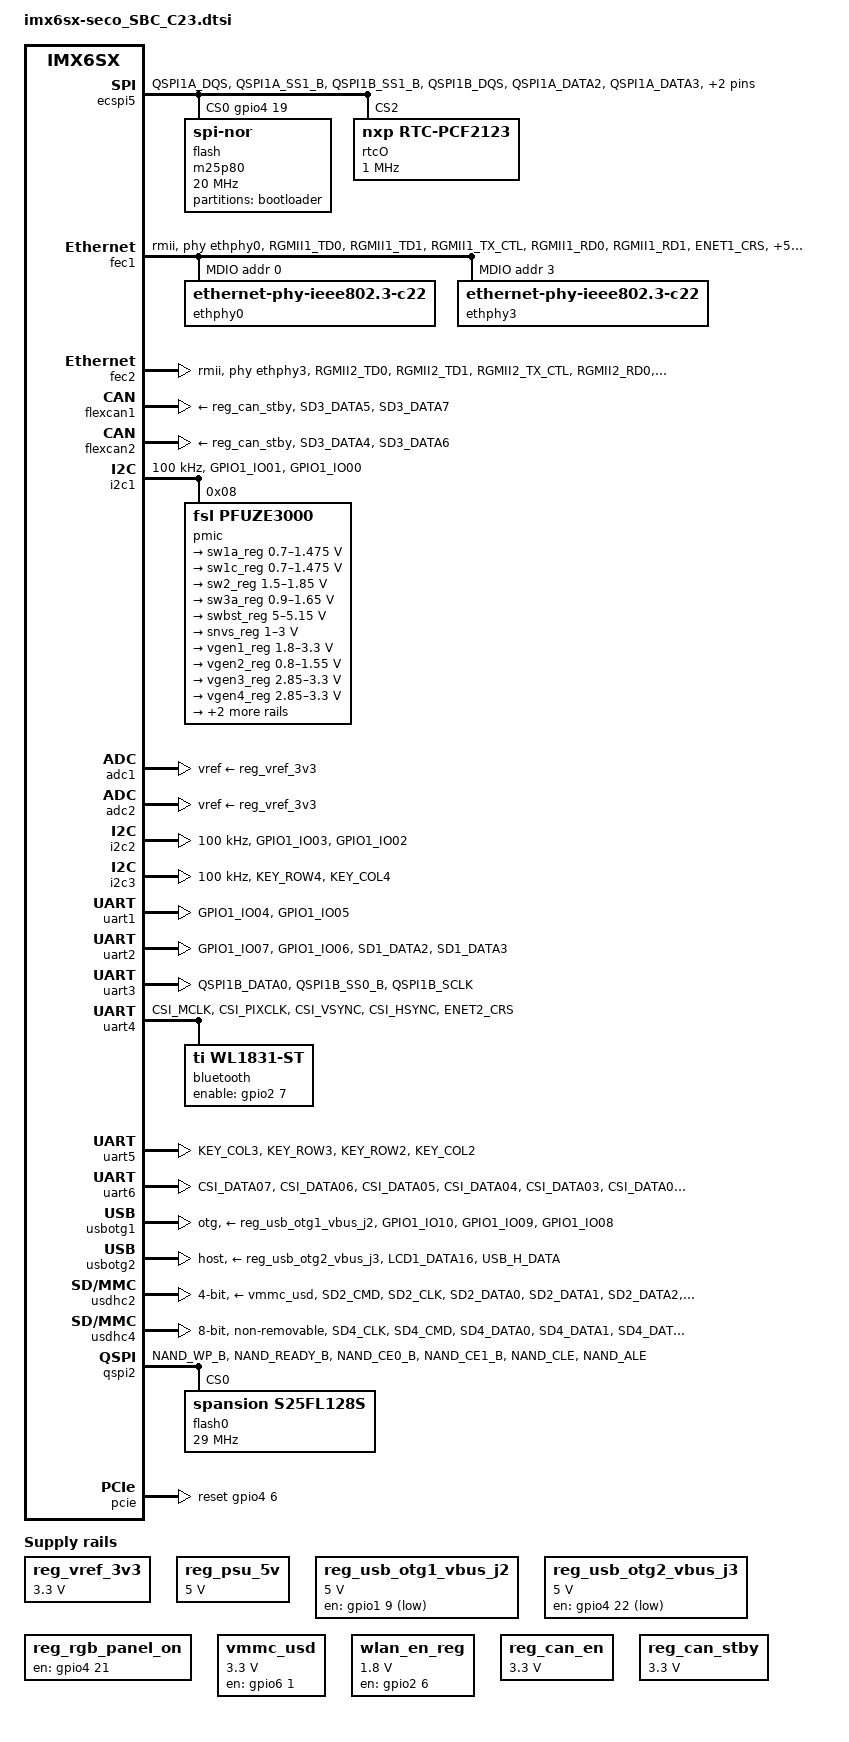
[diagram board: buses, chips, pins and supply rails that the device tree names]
/*
 * Copyright (C) 2016 Seco S.p.A.
 *
 * This program is free software; you can redistribute it and/or modify
 * it under the terms of the GNU General Public License version 2 as
 * published by the Free Software Foundation.
 * 
 * AUTHOR:  Stefano Viola <stefano.viola@seco.com>
 * AUTHOR:  Mathanraj Murugan <mathan.raj@seco.com>
 */


#include <dt-bindings/gpio/gpio.h>
#include <dt-bindings/input/input.h>
#include "imx6sx.dtsi"


/ {
	
	aliases {
		mmc0 = &usdhc4;
		mmc1 = &usdhc2;
		mmc2 = &usdhc3;
		gsm = &uart6;
	};

	pxp_v4l2_out {
		compatible = "fsl,imx6sx-pxp-v4l2", "fsl,imx6sl-pxp-v4l2";
		status = "disabled";
	};

	chosen {
		stdout-path = &uart1;
	};

	regulators {
		compatible = "simple-bus";

		reg_vref_3v3: regulator@0 {
			compatible = "regulator-fixed";
			regulator-name = "vref-3v3";
			regulator-min-microvolt = <3300000>;
			regulator-max-microvolt = <3300000>;
		};

		reg_psu_5v: psu_5v0 {
			compatible = "regulator-fixed";
			regulator-name = "PSU-5V0";
			regulator-min-microvolt = <5000000>;
			regulator-max-microvolt = <5000000>;
			regulator-boot-on;
		};

		reg_usb_otg1_vbus_j2: usb_otg1_vbus {
			compatible = "regulator-fixed";
			regulator-name = "usb_otg1_vbus_j2";
			regulator-min-microvolt = <5000000>;
			regulator-max-microvolt = <5000000>;
			gpio = <&gpio1 9 GPIO_ACTIVE_HIGH>;
			enable-active-down;
		};

		reg_usb_otg2_vbus_j3: usb_otg2_vbus {
			compatible = "regulator-fixed";
			regulator-name = "usb_otg2_vbus_j3";
			regulator-min-microvolt = <5000000>;
			regulator-max-microvolt = <5000000>;
			gpio = <&gpio4 22 GPIO_ACTIVE_HIGH>;
			enable-active-down;

		};

		reg_ldb_panel_on: reg_lcd_pon {
        		compatible        = "regulator-fixed";
            		regulator-name    = "ldb panel on";
            		gpio              = <&gpio6 0 GPIO_ACTIVE_HIGH>;
			status            = "disabled";
            		enable-active-high;
        	};

	        reg_rgb_panel_on: rgb_pon {
			compatible = "regulator-fixed";
			regulator-name = "LCD PANEL_ON";
                	gpio = <&gpio4 21 GPIO_ACTIVE_HIGH>;
			enable-active-high;
        	};

		vmmc_usd: fixedregulator@1 {
			compatible = "regulator-fixed";
			regulator-name = "vmmc_uSD";
			regulator-min-microvolt = <3300000>;
			regulator-max-microvolt = <3300000>;
			gpio = <&gpio6 1 GPIO_ACTIVE_HIGH>;
			enable-active-high;
		};

		wlan_en_reg: fixedregulator@2 {
			compatible = "regulator-fixed";
			regulator-name = "wlan-en-regulator";
			regulator-min-microvolt = <1800000>;
			regulator-max-microvolt = <1800000>;

			/* WLAN_EN GPIO for this board - KEY_COL2  Bank2, pin12 */
			gpio = <&gpio2 6 GPIO_ACTIVE_LOW>;
			/* WLAN card specific delay */
			startup-delay-us = <70000>;
			enable-active-high;
		};

		reg_can_en: regulator@9 {
                         compatible = "regulator-fixed";
                         regulator-name = "can-en";
                         regulator-min-microvolt = <3300000>;
                         regulator-max-microvolt = <3300000>;
                };

		reg_can_stby: regulator@10 {
                         compatible = "regulator-fixed";
                         regulator-name = "can-stby";
                         regulator-min-microvolt = <3300000>;
                         regulator-max-microvolt = <3300000>;
                 };
	};

        sound-spdif {
                compatible = "fsl,imx-audio-spdif";
                model = "imx-spdif";
                spdif-controller = <&spdif>;
                spdif-out;
                status = "disabled";
        };
 /*  __________________________________________________________________________
 * |                                                                          |
 * |                                   VIDEO                                  |
 * |__________________________________________________________________________|
 */
	pxp_v4l2_out {
		compatible = "fsl,imx6sx-pxp-v4l2", "fsl,imx6sl-pxp-v4l2";
		status     = "okay";
	};

	blk_lcdif2: backlight_lcdif2 {
    		compatible   = "gpio-backlight";
        	gpios        = <&gpio6 3 GPIO_ACTIVE_HIGH>;
		default-on;
        	status       = "disabled";
   	};
};

&lcdif2 {
	display    = <&display1>;
	disp-dev   = "ldb";
	lcd-supply = <&reg_ldb_panel_on>;
	status     = "disabled";

	display1: display {
		bits-per-pixel = <16>;
		bus-width      = <18>;
	};
};


&ldb {
	pinctrl-names = "default";
	pinctrl-0     = <&pinctrl_ldb>;
	status        = "disabled";

	lvds_chn1: lvds-channel@0 {
		fsl,data-mapping = "spwg";
		fsl,data-width   = <18>;
		crtc             = "lcdif2";
		status           = "disabled";
		
		display-timings {
			native-mode = <&timing2>;
			timing2: LDB-WVGA {
				clock-frequency = <33660000>;
				hactive         = <800>;
				vactive         = <480>;
				hback-porch     = <56>;
				hfront-porch    = <50>;
				vback-porch     = <23>;
				vfront-porch    = <20>;
				hsync-len       = <150>;
				vsync-len       = <2>;
			};
		};
	};
};


&dcic2 {
	dcic_id  = <1>;
	dcic_mux = "dcic-lvds";
	status   = "disabled";
};


&iomuxc {
	pinctrl-names = "default";
	pinctrl-0 = <&pinctrl_hog>;

	imx6sx-seco_SBC_C23 {
		pinctrl_hog: hoggrp {
			fsl,pins = <
				MX6SX_PAD_QSPI1A_DATA0__USB_OTG2_OC	0x17059	   // USB_VCC_SW_J3_OC
				MX6SX_PAD_QSPI1A_SS0_B__GPIO4_IO_22	0x80000000 // USB_VCC_SW_J3 on REV B

				MX6SX_PAD_KEY_COL1__GPIO2_IO_11		0x80000000 // M2 key B  M2_DPR_1V8

				MX6SX_PAD_NAND_DATA07__GPIO4_IO_11	0x80000000 // QUECTEL ENABLE
				MX6SX_PAD_LCD1_DATA10__GPIO3_IO_11	0x80000000 // RESET QUECTEL
				MX6SX_PAD_LCD1_DATA14__GPIO3_IO_15	0x80000000 // PWRKEY QUECTEL
				MX6SX_PAD_LCD1_DATA09__GPIO3_IO_10	0x80000000 // EN_EMERG
				MX6SX_PAD_LCD1_DATA08__GPIO3_IO_9	0x80000000 // EN_USB_BOOT BOOT_CFG2_0
					
				
				MX6SX_PAD_NAND_WE_B__GPIO4_IO_14	0x80000000 // ALERT#

				MX6SX_PAD_CSI_DATA02__GPIO1_IO_16       0x80000000 // GSM_LED

				MX6SX_PAD_LCD1_DATA23__GPIO3_IO_24	0x80000000 // LED D2044 1 BLUE
				MX6SX_PAD_LCD1_DATA21__GPIO3_IO_22	0x80000000 // LED D2044 2 RED
				MX6SX_PAD_LCD1_DATA17__GPIO3_IO_18	0x80000000 // LED D2044 3 GREEN

				MX6SX_PAD_NAND_DATA05__GPIO4_IO_9	0x80000000 // VCC_BAT

				MX6SX_PAD_RGMII2_TXC__GPIO5_IO_23       0x80000000 // M2_RST
				MX6SX_PAD_RGMII1_RD2__GPIO5_IO_2	0x80000000 // W_DISABLE_1_1v8
				MX6SX_PAD_RGMII1_RD3__GPIO5_IO_3	0x80000000 // W_DISABLE_2_1v8
				MX6SX_PAD_RGMII1_TXC__GPIO5_IO_11	0x80000000 // I2C3_ALERT 
				MX6SX_PAD_RGMII1_TD2__GPIO5_IO_8	0x80000000 // I2C3_ALERT_1 
				MX6SX_PAD_GPIO1_IO11__GPIO1_IO_11	0x80000000 // W_DISABLE_1 #_1
				MX6SX_PAD_GPIO1_IO12__GPIO1_IO_12	0x80000000 // W_DISABLE_2 #_1

				MX6SX_PAD_RGMII1_TD3__GPIO5_IO_9	0x80000000 // SIM DETECT (M2)

				MX6SX_PAD_RGMII2_RD2__GPIO5_IO_14	0x80000000 // SW_I/O_M2 UART5 to M2 or IO Connector

				MX6SX_PAD_RGMII2_RD3__GPIO5_IO_15	0x80000000 // SW_DBG/232 UART5 or TTL(CN69) or RS232 (IO CONNECTOR)

				MX6SX_PAD_RGMII2_TD2__PWM6_OUT          0x1b0b1 // PWM6 on IO CONNECTOR
				MX6SX_PAD_RGMII2_TD3__PWM5_OUT		0x1b0b1 // PWM5 on IO CONNECTOR
				MX6SX_PAD_NAND_DATA06__PWM3_OUT		0x1b0b1 // BUZZER
				
				MX6SX_PAD_ENET1_RX_CLK__GPIO2_IO_4	0x80000000 // VIN_PWR_5V

				MX6SX_PAD_LCD1_CLK__GPIO3_IO_0		0x80000000 // SECO_CODE_4
				MX6SX_PAD_LCD1_RESET__GPIO3_IO_27	0x80000000 // SECO_CODE_3
				MX6SX_PAD_LCD1_ENABLE__GPIO3_IO_25	0x80000000 // SECO_CODE_2
				MX6SX_PAD_LCD1_HSYNC__GPIO3_IO_26	0x80000000 // SECO_CODE_1
				MX6SX_PAD_LCD1_VSYNC__GPIO3_IO_28	0x80000000 // SECO_CODE_0 Board Type
				
				MX6SX_PAD_NAND_DATA00__GPIO4_IO_4	0x80000000 // OC#_5V
				MX6SX_PAD_NAND_DATA01__GPIO4_IO_5	0x80000000 // EN_OUT_5V
	
				MX6SX_PAD_NAND_DATA02__GPIO4_IO_6	0x80000000 // PCIE_RST
				MX6SX_PAD_NAND_DATA04__GPIO4_IO_8	0x80000000 // PCIE_CLK_REQN
				MX6SX_PAD_NAND_DATA03__GPIO4_IO_7	0x80000000 // PCIE_WAKE#

				MX6SX_PAD_QSPI1A_SCLK__GPIO4_IO_21	0x80000000 // SPI5_WP Write Protect

				MX6SX_PAD_QSPI1A_DATA1__GPIO4_IO_17	0x80000000 // PMIC_INT_B
				MX6SX_PAD_QSPI1B_DATA2__GPIO4_IO_26	0x80000000 // INT_CHG Charger

				MX6SX_PAD_ENET2_RX_CLK__ENET2_REF_CLK_25M	0x91
				
				MX6SX_PAD_ENET1_MDIO__ENET1_MDIO        0xa0b1
				MX6SX_PAD_ENET1_MDC__ENET1_MDC		0xa0b1

			>;
		};


                pinctrl_flexcan1: flexcan1grp {
                        fsl,pins = <
				MX6SX_PAD_SD3_DATA5__CAN1_TX		0x1b020
				MX6SX_PAD_SD3_DATA7__CAN1_RX		0x1b020		
                        >;
                };

                pinctrl_flexcan2: flexcan2grp {
                        fsl,pins = <
				MX6SX_PAD_SD3_DATA4__CAN2_RX		0x1b020
				MX6SX_PAD_SD3_DATA6__CAN2_TX		0x1b020
                        >;
                };


		pinctrl_uart1: uart1grp-1 {
			fsl,pins = <
				MX6SX_PAD_GPIO1_IO04__UART1_TX          0x1b0b1
				MX6SX_PAD_GPIO1_IO05__UART1_RX          0x1b0b1
			>;
		};

		pinctrl_uart2: uart2grp-1 {
			fsl,pins = <
				MX6SX_PAD_GPIO1_IO07__UART2_RX          0x1b0b1
				MX6SX_PAD_GPIO1_IO06__UART2_TX          0x1b0b1
				MX6SX_PAD_SD1_DATA2__UART2_CTS_B	0x1b0b1
				MX6SX_PAD_SD1_DATA3__UART2_RTS_B	0x1b0b1
			>;
		};
		
		pinctrl_uart3: uart3grp-1 {
			fsl,pins = <
				MX6SX_PAD_QSPI1B_DATA0__UART3_CTS_B	0x1b0b1
				MX6SX_PAD_QSPI1B_SS0_B__UART3_TX	0x1b0b1
				MX6SX_PAD_QSPI1B_SCLK__UART3_RX		0x1b0b1
			>;
		};


		pinctrl_uart6: uart6grp-1 {
			fsl,pins = <
				MX6SX_PAD_CSI_DATA07__UART6_CTS_B       0x1b0b1
				MX6SX_PAD_CSI_DATA06__UART6_RTS_B       0x1b0b1
				MX6SX_PAD_CSI_DATA05__UART6_TX          0x1b0b1
				MX6SX_PAD_CSI_DATA04__UART6_RX          0x1b0b1
				MX6SX_PAD_CSI_DATA03__UART6_DCD_B	0x1b0b1
				MX6SX_PAD_CSI_DATA01__UART6_DSR_B	0x1b0b1
				MX6SX_PAD_CSI_DATA00__UART6_RI_B	0x1b0b1
			>;
		};

		pinctrl_uart4_1: uart4grp-1 {
			fsl,pins = <
				MX6SX_PAD_CSI_MCLK__UART4_RX		0x10059
				MX6SX_PAD_CSI_PIXCLK__UART4_TX		0x10059
				MX6SX_PAD_CSI_VSYNC__UART4_CTS_B	0x13059
				MX6SX_PAD_CSI_HSYNC__UART4_RTS_B	0x13059
				MX6SX_PAD_ENET2_CRS__GPIO2_IO_7		0x15059
			>;
		};
	
		pinctrl_uart5_1: uart5grp-1 {
			fsl,pins = <
				MX6SX_PAD_KEY_COL3__UART5_TX		0x10059
				MX6SX_PAD_KEY_ROW3__UART5_RX		0x10059
				MX6SX_PAD_KEY_ROW2__UART5_CTS_B		0x10059
				MX6SX_PAD_KEY_COL2__UART5_RTS_B		0x10059
			>;
		};

                pinctrl_ecspi5_1: ecspi5grp-1 {
                        fsl,pins = <
				
				//NEW C23
				MX6SX_PAD_QSPI1A_DQS__ECSPI5_MOSI	0x100b1
				MX6SX_PAD_QSPI1A_SS1_B__ECSPI5_MISO	0x100b1
				MX6SX_PAD_QSPI1B_SS1_B__ECSPI5_SCLK	0x100b1
				
				MX6SX_PAD_QSPI1B_DQS__GPIO4_IO_28	0x80000000 // CS0 memory
				MX6SX_PAD_QSPI1A_DATA2__ECSPI5_SS1	0x100b1 // CS1 NATIVE Key E
				MX6SX_PAD_QSPI1A_DATA3__GPIO4_IO_19	0x80000000 // CS2 RTC
				MX6SX_PAD_QSPI1B_DATA3__ECSPI5_SS3	0x100b1 // CS3 NATIVE Key B
				MX6SX_PAD_QSPI1B_DATA1__GPIO4_IO_25	0x80000000 //RTC_INT
				
                        >;
                };

		
		pinctrl_enet1_1: enet1grp-1 {
			fsl,pins = <
				
				MX6SX_PAD_RGMII1_TD0__ENET1_TX_DATA_0        0x1b0b0
				MX6SX_PAD_RGMII1_TD1__ENET1_TX_DATA_1        0x1b0b0
				MX6SX_PAD_RGMII1_TX_CTL__ENET1_TX_EN         0x1b0b0
				MX6SX_PAD_RGMII1_RD0__ENET1_RX_DATA_0        0x1b0b0
				MX6SX_PAD_RGMII1_RD1__ENET1_RX_DATA_1        0x1b0b0

				/*  RESET  */
                		MX6SX_PAD_ENET1_CRS__GPIO2_IO_1              0x1f071
				/*  IRQ  */
				MX6SX_PAD_KEY_COL0__GPIO2_IO_10	             0x1f071
				MX6SX_PAD_RGMII1_RXC__ENET1_RX_ER   	     0x1b0b0
				MX6SX_PAD_ENET1_TX_CLK__ENET1_REF_CLK1       0x1b0b0
				MX6SX_PAD_RGMII1_RX_CTL__ENET1_RX_EN         0x1b0b0


			>;
		};

		pinctrl_enet1_2: enet1grp-2 {
			fsl,pins = <
        		MX6SX_PAD_RGMII1_RX_CTL__GPIO5_IO_4          0x80000000
			>;
		};

		pinctrl_enet1_3: enet1grp-3 {
			fsl,pins = <
				MX6SX_PAD_RGMII1_RX_CTL__ENET1_RX_EN         0x3081
			>;
		};

		pinctrl_enet2_1: enet2grp-1 {
			fsl,pins = <
				MX6SX_PAD_RGMII2_TD0__ENET2_TX_DATA_0        0x1b0b0
				MX6SX_PAD_RGMII2_TD1__ENET2_TX_DATA_1        0x1b0b0
				MX6SX_PAD_RGMII2_TX_CTL__ENET2_TX_EN         0x1b0b0
				MX6SX_PAD_RGMII2_RD0__ENET2_RX_DATA_0        0x1b0b0
				MX6SX_PAD_RGMII2_RD1__ENET2_RX_DATA_1        0x1b0b0

				/*  RESET  */
				MX6SX_PAD_ENET1_COL__GPIO2_IO_0              0x1f071
				/*  IRQ  */
				MX6SX_PAD_KEY_ROW0__GPIO2_IO_15		     0x1f071
				MX6SX_PAD_RGMII2_RXC__ENET2_RX_ER   	     0x1b0b0
				MX6SX_PAD_ENET2_TX_CLK__ENET2_REF_CLK2       0x1b0b0
				MX6SX_PAD_RGMII2_RX_CTL__ENET2_RX_EN         0x1b0b0
                
			>;
		};

		pinctrl_enet2_2: enet2grp-2 {
			fsl,pins = <
            		//MX6SX_PAD_RGMII2_RX_CTL__GPIO5_IO_16         0x80000000
			>;
		};

		pinctrl_enet2_3: enet2grp-3 {
			fsl,pins = <
			//MX6SX_PAD_RGMII2_RX_CTL__ENET2_RX_EN         0x3081
			>;
		};



		pinctrl_usdhc2_1: usdhc2grp-1 {
			fsl,pins = <
				MX6SX_PAD_SD2_CMD__USDHC2_CMD		0x17059
				MX6SX_PAD_SD2_CLK__USDHC2_CLK		0x10059
				MX6SX_PAD_SD2_DATA0__USDHC2_DATA0	0x17059
				MX6SX_PAD_SD2_DATA1__USDHC2_DATA1	0x17059
				MX6SX_PAD_SD2_DATA2__USDHC2_DATA2	0x17059
				MX6SX_PAD_SD2_DATA3__USDHC2_DATA3	0x17059
				MX6SX_PAD_SD1_CMD__GPIO6_IO_1       	0x80000000 // uSD USDHC2 PWR
				MX6SX_PAD_SD1_DATA0__GPIO6_IO_2     	0xb0b0 // uSD USDHC2 CD (SDIO_CD)
			>;
		};

		pinctrl_usdhc3_wifi: usdhc3grp-wifi {
			fsl,pins = <
				MX6SX_PAD_SD3_CMD__USDHC3_CMD		0x17069
				MX6SX_PAD_SD3_CLK__USDHC3_CLK		0x10069
				MX6SX_PAD_SD3_DATA0__USDHC3_DATA0	0x17069
				MX6SX_PAD_SD3_DATA1__USDHC3_DATA1	0x17069
				MX6SX_PAD_SD3_DATA2__USDHC3_DATA2	0x17069
				MX6SX_PAD_SD3_DATA3__USDHC3_DATA3	0x17069
				MX6SX_PAD_ENET2_COL__GPIO2_IO_6		0x80000000
				MX6SX_PAD_KEY_ROW1__GPIO2_IO_16		0x80000000
				MX6SX_PAD_USB_H_STROBE__ANATOP_32K_OUT  0x10059    // WL 32K CLOCK
			>;
		};

		pinctrl_usdhc4_emmc: usdhc4grp-emmc {
			fsl,pins = <
				MX6SX_PAD_SD4_CLK__USDHC4_CLK		0x17069
				MX6SX_PAD_SD4_CMD__USDHC4_CMD		0x10069
				MX6SX_PAD_SD4_DATA0__USDHC4_DATA0	0x17069
				MX6SX_PAD_SD4_DATA1__USDHC4_DATA1	0x17069
				MX6SX_PAD_SD4_DATA2__USDHC4_DATA2	0x17069
				MX6SX_PAD_SD4_DATA3__USDHC4_DATA3	0x17069
				MX6SX_PAD_SD4_DATA4__USDHC4_DATA4	0x17069
				MX6SX_PAD_SD4_DATA5__USDHC4_DATA5	0x17069
				MX6SX_PAD_SD4_DATA6__USDHC4_DATA6	0x17069
				MX6SX_PAD_SD4_DATA7__USDHC4_DATA7	0x17069
				MX6SX_PAD_SD4_RESET_B__GPIO6_IO_22	0x80000000
			>;
		};

		pinctrl_i2c1_1: i2c1grp-1 {
			fsl,pins = <
				MX6SX_PAD_GPIO1_IO01__I2C1_SDA          0x4001b8b1
				MX6SX_PAD_GPIO1_IO00__I2C1_SCL          0x4001b8b1
			>;
		};

		pinctrl_i2c2_1: i2c2grp-1 {
			fsl,pins = <
				MX6SX_PAD_GPIO1_IO03__I2C2_SDA          0x4001b8b1
				MX6SX_PAD_GPIO1_IO02__I2C2_SCL          0x4001b8b1
			>;
		};

		pinctrl_i2c3_2: i2c3grp-2 {
			fsl,pins = <
				MX6SX_PAD_KEY_ROW4__I2C3_SDA            0x4001b8b1
				MX6SX_PAD_KEY_COL4__I2C3_SCL            0x4001b8b1
			>;
		};

                pinctrl_usb_otg1_id: usbotg1idgrp {
                        fsl,pins = <
				//MX6SX_PAD_GPIO1_IO10__ANATOP_OTG1_ID	0x17059
				/*MX6SX_PAD_GPIO1_IO10__GPIO1_IO_10	0x10b0  // USB_ID*/
				MX6SX_PAD_GPIO1_IO10__GPIO1_IO_10            0x80000000 
				MX6SX_PAD_GPIO1_IO09__GPIO1_IO_9	0x10b0  // USB_VCC_SW_J2
				MX6SX_PAD_GPIO1_IO08__USB_OTG1_OC	0x10b0  // USB_VCC_SW_J2_OC
                        >;
                };

		pinctrl_usbh_1: usbhgrp-1 {
			fsl,pins = <
				MX6SX_PAD_LCD1_DATA16__GPIO3_IO_17	0x80000000 // HUB USB RESET
				MX6SX_PAD_USB_H_DATA__ANATOP_24M_OUT	0x10059    // HUB 24M
			>;
		};

		pinctrl_ldb: ldbctrlgrp {
			fsl,pins = <
				MX6SX_PAD_SD1_CLK__GPIO6_IO_0	  	0x80000000	// PANEL_ON
				MX6SX_PAD_SD1_DATA1__GPIO6_IO_3		0x80000000	// BL_ON
			>;
		};

		pinctrl_qspi2_1: qspi2grp_1 {
			fsl,pins = <
				MX6SX_PAD_NAND_WP_B__QSPI2_A_DATA_0	0x70f1
				MX6SX_PAD_NAND_READY_B__QSPI2_A_DATA_1  0x70f1
				MX6SX_PAD_NAND_CE0_B__QSPI2_A_DATA_2	0x70f1
				MX6SX_PAD_NAND_CE1_B__QSPI2_A_DATA_3	0x70f1
				MX6SX_PAD_NAND_CLE__QSPI2_A_SCLK	0x70f1
				MX6SX_PAD_NAND_ALE__QSPI2_A_SS0_B	0x70f1
			>;
		};

                pinctrl_rtc_1: rtcgrp-1 {
                        fsl,pins = <
                                MX6SX_PAD_QSPI1B_DATA1__GPIO4_IO_25     0x80000000      // RTC_INT
                        >;
                };

		pinctrl_gt911: gt911grp {
			fsl,pins = <
				MX6SX_PAD_NAND_RE_B__GPIO4_IO_12  	0x80000000	// TOUCH_INT
				MX6SX_PAD_NAND_WE_B__GPIO4_IO_14 	0x80000000	// TOUCH_RST
			>;
		};

		pinctrl_st1232: st1232grp-0 {
			fsl,pins = <
				MX6SX_PAD_NAND_RE_B__GPIO4_IO_12  	0x80000000	// TOUCH_INT
				MX6SX_PAD_NAND_WE_B__GPIO4_IO_14 	0x80000000	// TOUCH_RST
			>;
		};

		pinctrl_wdog: wdoggrp {
                         fsl,pins = <
                                 MX6SX_PAD_GPIO1_IO13__WDOG1_WDOG_ANY 0x30b0
                         >;
                 };
	};
};

&cpu0 {
	operating-points = <
		/* kHz    uV */
		996000  1250000
		792000  1175000
		396000  1175000
		198000	1175000
		>;
	fsl,soc-operating-points = <
		/* ARM kHz      SOC uV */
		996000	1250000
		792000	1175000
		396000	1175000
		198000	1175000
	>;
	arm-supply = <&sw1a_reg>;
	soc-supply = <&sw1a_reg>;
	fsl,arm-soc-shared = <1>;
};

&ecspi5 {
        fsl,spi-num-chipselects = <4>;
        pinctrl-names = "default";
        pinctrl-0 = <&pinctrl_ecspi5_1>;
        status = "okay";
        
        cs-gpios = <&gpio4 28 0>;
	cs-gpios = <&gpio4 19 0>;
 
 
        flash: m25p80@0 {
		 #address-cells = <1>;
		 #size-cells = <1>;

		 compatible	   = "spi-nor";
                 reg               = <0>;
                 spi-max-frequency = <20000000>;
 
                 partition@0 {
                         label = "bootloader";
                         reg   = <0x00000000 0x00004000>;
                 };
         };

	rtcO: pcf2123@0 {
                 compatible        = "nxp,rtc-pcf2123";
                 spi-max-frequency = <1000000>;
                 spi-cs-high;
                 reg = <2>;
         };
 
 
};

&fec1 {
    pinctrl-names = "default";
	pinctrl-0 = <&pinctrl_enet1_1>;
	phy-mode             = "rmii";
	phy-reset-gpios      = <&gpio2 1 GPIO_ACTIVE_LOW>;
	phy-reset-duration   = <20>;
	phy-reset-post-delay = <200>;
	phy-handle           = <&ethphy0>;
	status = "okay";

    mdio: mdio {
    	#address-cells = <1>;
    	#size-cells    = <0>;

		ethphy0: ethernet-phy@0 {
			compatible = "ethernet-phy-ieee802.3-c22";
			reg        = <0>;
			max-speed  = <100>;
			status     = "okay";
		};

		ethphy3: ethernet-phy@3 {
			compatible = "ethernet-phy-ieee802.3-c22";
			reg        = <3>;
			max-speed  = <100>;
			status     = "okay";
		};
    };
};

&fec2 {
    pinctrl-names        = "default";
	pinctrl-0            = <&pinctrl_enet2_1>;
	phy-mode             = "rmii";
	phy-reset-gpios      = <&gpio2 0 GPIO_ACTIVE_LOW>;
	phy-reset-duration   = <20>;
	phy-reset-post-delay = <100>;
	phy-handle           = <&ethphy3>;
	fsl,num_tx_queues    = <3>;
	fsl,num_rx_queues    = <3>;
	status               = "okay";
};

&flexcan1 {
        pinctrl-names = "default";
        pinctrl-0 = <&pinctrl_flexcan1>;
	xceiver-supply = <&reg_can_stby>;
        status = "okay";
};

&flexcan2 {
        pinctrl-names = "default";
        pinctrl-0 = <&pinctrl_flexcan2>;
	xceiver-supply = <&reg_can_stby>;
        status = "okay";
};

&gpc {
	/* use ldo-bypass, u-boot will check it and configure */
	fsl,ldo-bypass = <1>;
};

&i2c1 {
	clock-frequency = <100000>;
	pinctrl-names = "default";
	pinctrl-0 = <&pinctrl_i2c1_1>;
	status = "okay";

	pmic: pfuze3000@08 {
		compatible = "fsl,pfuze3000";
		reg = <0x08>;

		regulators {
			sw1a_reg: sw1a {
				regulator-min-microvolt = <700000>;
				regulator-max-microvolt = <1475000>;
				regulator-boot-on;
				regulator-always-on;
				regulator-ramp-delay = <6250>;
			};

			/* use sw1c_reg to align with pfuze100/pfuze200 */
			sw1c_reg: sw1b {
				regulator-min-microvolt = <700000>;
				regulator-max-microvolt = <1475000>;
				regulator-boot-on;
				regulator-always-on;
				regulator-ramp-delay = <6250>;
			};

			sw2_reg: sw2 {
				regulator-min-microvolt = <1500000>;
				regulator-max-microvolt = <1850000>;
				regulator-boot-on;
				regulator-always-on;
			};

			sw3a_reg: sw3 {
				regulator-min-microvolt = <900000>;
				regulator-max-microvolt = <1650000>;
				regulator-boot-on;
				regulator-always-on;
			};

			swbst_reg: swbst {
				regulator-min-microvolt = <5000000>;
				regulator-max-microvolt = <5150000>;
			};

			snvs_reg: vsnvs {
				regulator-min-microvolt = <1000000>;
				regulator-max-microvolt = <3000000>;
				regulator-boot-on;
				regulator-always-on;
			};

			vref_reg: vrefddr {
				regulator-boot-on;
				regulator-always-on;
			};

			vgen1_reg: vldo1 {
				regulator-min-microvolt = <1800000>;
				regulator-max-microvolt = <3300000>;
				regulator-always-on;
			};

			vgen2_reg: vldo2 {
				regulator-min-microvolt = <800000>;
				regulator-max-microvolt = <1550000>;
				regulator-always-on;
			};

			vgen3_reg: vccsd {
				regulator-min-microvolt = <2850000>;
				regulator-max-microvolt = <3300000>;
				regulator-always-on;
			};

			vgen4_reg: v33 {
				regulator-min-microvolt = <2850000>;
				regulator-max-microvolt = <3300000>;
				regulator-always-on;
			};

			vgen5_reg: vldo3 {
				regulator-min-microvolt = <1800000>;
				regulator-max-microvolt = <3300000>;
				regulator-always-on;
			};

			vgen6_reg: vldo4 {
				regulator-min-microvolt = <1800000>;
				regulator-max-microvolt = <3300000>;
				regulator-always-on;
			};
		};
	};

	st1232: st1232@55 {
		compatible       = "sitronix,st1232";
		reg              = <0x55>;
		pinctrl-names    = "default";
		pinctrl-0        = <&pinctrl_st1232>;		
		interrupt-parent = <&gpio6>;
		interrupts       = <4 IRQ_TYPE_LEVEL_LOW>;
		gpios            = <&gpio4 14 GPIO_ACTIVE_LOW>;

		status           = "disabled";
	};

};

&adc1 {
	vref-supply = <&reg_vref_3v3>;
	status = "okay";
};

&adc2 {
	vref-supply = <&reg_vref_3v3>;
	status = "okay";
};

&i2c2 {
	clock-frequency = <100000>;
	pinctrl-names = "default";
	pinctrl-0 = <&pinctrl_i2c2_1>;
	status = "okay";
};

&i2c3 {
	clock-frequency = <100000>;
	pinctrl-names = "default";
	pinctrl-0 = <&pinctrl_i2c3_2>;
	status = "okay";
};

&uart1 {
	pinctrl-names = "default";
	pinctrl-0 = <&pinctrl_uart1>;
	status = "okay";
};

&uart2 {
	pinctrl-names = "default";
	pinctrl-0 = <&pinctrl_uart2>;
	status = "okay";
};


/* RS-485 */
&uart3 {
	pinctrl-names = "default";
	pinctrl-0 = <&pinctrl_uart3>;
	fsl,uart-has-rtscts;
	status = "okay";
};

&uart4 { /* for bluetooth */
	pinctrl-names = "default";
	pinctrl-0 = <&pinctrl_uart4_1>;
	fsl,uart-has-rtscts;
	dma-names = "","tx";
	status = "okay";

	bluetooth {
	        compatible = "ti,wl1831-st";
		enable-gpios = <&gpio2 7 GPIO_ACTIVE_HIGH>;
	};

};

&uart5 { 
	pinctrl-names = "default";
	pinctrl-0 = <&pinctrl_uart5_1>;
	status = "okay";
};

&uart6 {
	pinctrl-names = "default";
	pinctrl-0 = <&pinctrl_uart6>;
	fsl,uart-has-rtscts;
	status = "okay";
};

&usbotg1 {
	pinctrl-names = "default";
	pinctrl-0 = <&pinctrl_usb_otg1_id>;
	vbus-supply = <&reg_usb_otg1_vbus_j2>;
	idirq-gpios = <&gpio1 10 GPIO_ACTIVE_HIGH>;
	dr_mode = "otg";
        srp-disable;
        hnp-disable;
        adp-disable;
	imx-usb-charger-detection;
	status = "okay";
};

&usbotg2 {
	pinctrl-names = "default";
	vbus-supply = <&reg_usb_otg2_vbus_j3>;
	pinctrl-0 = <&pinctrl_usbh_1>;
	dr_mode = "host";
	status = "okay";
};

&usdhc2 {
	pinctrl-names = "default";
pinctrl-0 = <&pinctrl_usdhc2_1>;
	no-1-8-v;
	vmmc-supply = <&vmmc_usd>;
	bus-width = <4>;
	cd-gpios = <&gpio6 2 GPIO_ACTIVE_LOW>;
	keep-power-in-suspend;
	enable-sdio-wakeup;
	status = "okay";
};

&usdhc3 { /* WiFi */
	pinctrl-names = "default";
	pinctrl-0 = <&pinctrl_usdhc3_wifi>;
	enable-sdio-wakeup;
	non-removable;	// non-removable is not a variable, the fact it is listed is all hat is used by driver
	vmmc-supply = <&wlan_en_reg>;
	cap-power-off-card;
	keep-power-in-suspend;
	status = "disabled";

	#address-cells = <1>;
	#size-cells = <0>;
	wlcore: wlcore@0 {
		compatible = "ti,wl1831";
		reg = <2>;
		interrupt-parent = <&gpio2>;
		interrupts = <16 IRQ_TYPE_EDGE_RISING>;
		ref-clock-frequency = <38400000>;
		tcxo-clock-frequency = <26000000>;
	};
};

&usdhc4 {
	pinctrl-names = "default";
	pinctrl-0 = <&pinctrl_usdhc4_emmc>;
	no-1-8-v;
	bus-width = <8>;
        non-removable;
        keep-power-in-suspend;
	status = "okay";
};

&qspi2 {
	pinctrl-names = "default";
	pinctrl-0 = <&pinctrl_qspi2_1>;
	ddrsmp=<2>;
	status = "okay";

        flash0: s25fl128s@0 {
                #address-cells = <1>;
                #size-cells = <1>;
                compatible = "spansion,s25fl128s";
                spi-max-frequency = <29000000>;
                reg = <0>;
        };
};

&wdog1 {
        pinctrl-names = "default";
        pinctrl-0 = <&pinctrl_wdog>;
        fsl,wdog_b;
};

&pcie {
  pinctrl-names = "default";
  reset-gpio = <&gpio4 6 0>;
  status = "okay";
};

